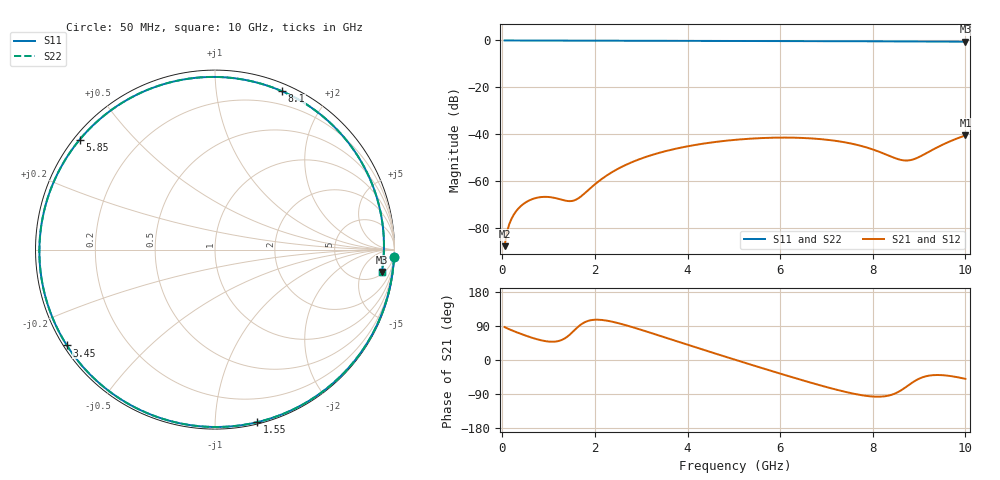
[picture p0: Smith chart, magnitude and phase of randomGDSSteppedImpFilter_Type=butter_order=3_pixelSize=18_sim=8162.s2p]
! freq	dB(S11)	phase(S11)	dB(S12)	phase(S12)
!  dB(S21)	phase(S21)	dB(S22)	phase(S22)
!S-par simulation data
#  GHz  S  DB  R 50
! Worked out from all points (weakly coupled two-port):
!   200 points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, 50 MHz to 10 GHz, reference 50 ohm
!   highest |S21| = -40.49 dB at 10 GHz (marker M1); lowest = -87.7 dB at 50 MHz (marker M2)
!   lowest |S11| = -0.6 dB at 10 GHz (marker M3), VSWR 31.36, Z = 294 - j610 ohm
!   |S11| at or under -10 dB: nowhere
!   |S22| runs from -0.6 to 0.0 dB; largest |S21 - S12| = 0
!   S11 on the Smith chart (normalised r, x): 50 MHz: 1, -45; 1.55 GHz: 0.01, -1.28; 3.45 GHz: 0.01, -0.30; 5.85 GHz: 0.02, +0.35; 8.1 GHz: 0.07, +1.51; 10 GHz: 6, -12
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0.05  -0.01 -2.5  -87.68 86.9  -87.68 86.9  -0.01 -2.5
0.1  -0.02 -5.1  -81.74 83.9  -81.74 83.9  -0.02 -5.1
0.25  -0.03 -13.0  -74.17 76.0  -74.17 76.0  -0.03 -13.0
0.35  -0.03 -18.2  -71.57 71.3  -71.57 71.3  -0.03 -18.2
0.65  -0.05 -33.6  -67.61 58.4  -67.61 58.4  -0.05 -33.6
1.1  -0.07 -55.6  -66.98 48.2  -66.98 48.2  -0.07 -55.6
1.55  -0.09 -76.2  -68.20 77.7  -68.20 77.7  -0.09 -76.2
1.75  -0.10 -84.8  -65.65 97.7  -65.65 97.7  -0.10 -84.8
2.45  -0.12 -112.6  -55.22 98.9  -55.22 98.9  -0.12 -112.6
3.4  -0.15 -145.5  -47.84 64.0  -47.84 64.0  -0.15 -145.5
3.45  -0.15 -147.1  -47.57 62.1  -47.57 62.1  -0.15 -147.1
4.25  -0.18 -171.8  -44.26 30.6  -44.26 30.6  -0.18 -171.8
5.05  -0.21 164.5  -42.32 -0.2  -42.32 -0.2  -0.21 164.6
5.85  -0.25 140.9  -41.45 -30.3  -41.45 -30.3  -0.25 140.9
6.7  -0.30 114.7  -41.79 -61.2  -41.79 -61.2  -0.30 114.8
7.4  -0.33 91.8  -43.43 -83.9  -43.43 -83.9  -0.33 91.8
8.1  -0.37 67.1  -47.15 -96.9  -47.15 -96.9  -0.37 67.1
8.35  -0.39 57.9  -49.13 -93.7  -49.13 -93.7  -0.39 57.9
8.65  -0.41 46.5  -51.07 -77.0  -51.07 -77.0  -0.41 46.5
8.85  -0.42 38.8  -50.83 -59.9  -50.83 -59.9  -0.42 38.8
9.45  -0.48 14.9  -44.98 -39.7  -44.98 -39.7  -0.48 14.9
10  -0.55 -7.6  -40.49 -49.7  -40.49 -49.7  -0.55 -7.6
